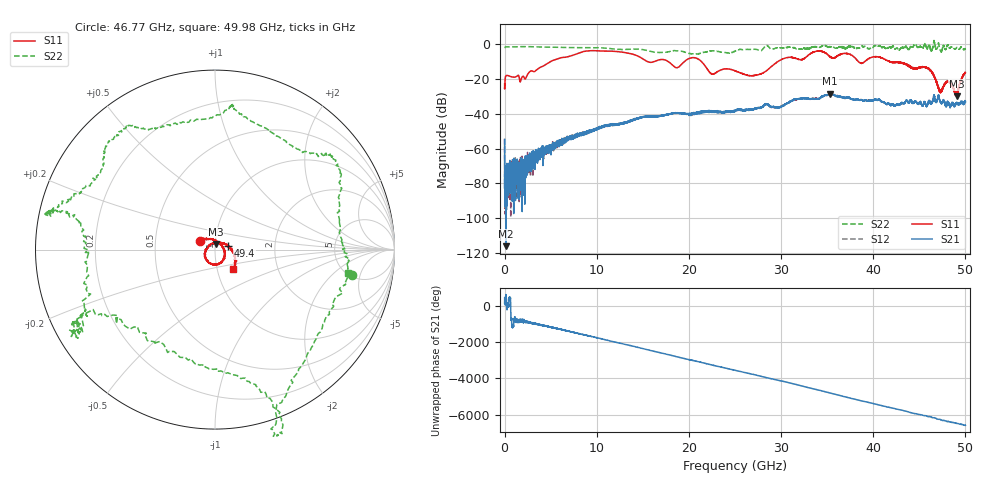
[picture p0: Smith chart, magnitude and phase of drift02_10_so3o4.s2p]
!Created with skrf (http://scikit-rf.org).
# Hz S RI R 50.0
!freq ReS11 ImS11 ReS21 ImS21 ReS12 ImS12 ReS22 ImS22
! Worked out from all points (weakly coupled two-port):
!   10001 points, 300 kHz to 50 GHz, reference 50 ohm
!   highest |S21| = -28.49 dB at 35.34 GHz (marker M1); lowest = -116.2 dB at 130.3 MHz (marker M2)
!   lowest |S11| = -29.8 dB at 49.08 GHz (marker M3), VSWR 1.07, Z = 50.2 + j3.23 ohm
!   |S11| at or under -10 dB: start of sweep to 4.958 GHz; 21.38 GHz to 29.63 GHz (8.256 GHz wide, 32.4 % of centre); 41.86 GHz to end of sweep (the widest 3 of 10)
!   |S22| runs from -5.7 to 2.2 dB; largest |S21 - S12| = 0.0034
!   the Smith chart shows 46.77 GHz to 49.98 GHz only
!   S11 on the Smith chart (normalised r, x): 46.77 GHz: 0.85, +0.08; 49.4 GHz: 1.16, +0.05; 49.98 GHz: 1.19, -0.27
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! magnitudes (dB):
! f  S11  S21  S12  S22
! 300 kHz  -22.7  -54.8  -54.4  -2.1
! 130.3 MHz  -18.2  -116.2  -75.6  -1.5
! 260.3 MHz  -17.9  -93.1  -69.6  -1.4
! 1.87 GHz  -19.1  -70.3  -70.2  -1.3
! 8.335 GHz  -4.5  -51.1  -51.1  -1.9
! 16.67 GHz  -9.1  -41.6  -41.4  -4.7
! 18.7 GHz  -13.5  -39.6  -39.4  -3.7
! 20.6 GHz  -7.7  -39.4  -40.0  -5.6
! 22.5 GHz  -17.2  -38.7  -38.4  -3.7
! 25 GHz  -15.2  -38.0  -38.3  -3.9
! 27.43 GHz  -17.7  -36.8  -36.9  -3.1
! 33.34 GHz  -5.0  -31.4  -31.3  -1.6
! 35.34 GHz  -7.2  -28.5  -28.7  -1.4
! 41.67 GHz  -9.6  -34.2  -34.2  -1.8
! 45.78 GHz  -13.3  -35.8  -35.6  -2.0
! 46.77 GHz  -20.6  -32.9  -32.8  -2.2
! 47.27 GHz  -27.5  -32.7  -32.7  -3.4
! 48.12 GHz  -21.7  -33.1  -33.3  -0.6
! 49.08 GHz  -29.8  -33.6  -33.8  -1.9
! 49.4 GHz  -22.3  -34.3  -34.4  -2.8
! 49.98 GHz  -16.5  -32.7  -32.9  -2.5
! 50 GHz  -16.3  -33.3  -33.3  -2.6
